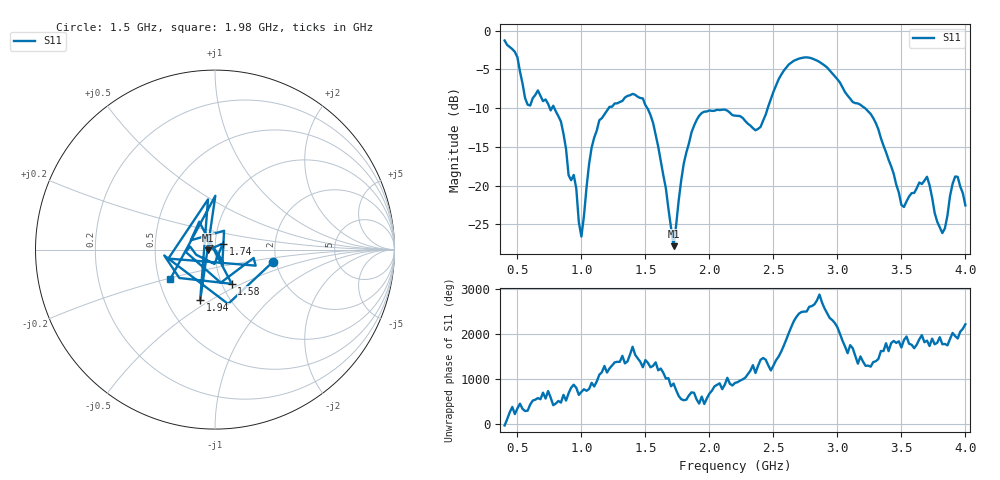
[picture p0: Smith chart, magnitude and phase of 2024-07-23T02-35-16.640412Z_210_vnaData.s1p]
!Created with skrf (http://scikit-rf.org).
# Hz S RI R 50.0
!freq ReS11 ImS11
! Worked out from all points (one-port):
!   181 points, 400 MHz to 4 GHz, reference 50 ohm
!   lowest |S11| = -27.8 dB at 1.72 GHz (marker M1), VSWR 1.08, Z = 46.1 - j0.272 ohm
!   |S11| at or under -10 dB: 788.5 MHz to 1.213 GHz (424.9 MHz wide, 42.5 % of centre); 1.515 GHz to 2.456 GHz (941.1 MHz wide, 47.4 % of centre); 3.215 GHz to end of sweep (the widest 3 of 4)
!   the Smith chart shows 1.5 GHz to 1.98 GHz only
!   S11 on the Smith chart (normalised r, x): 1.5 GHz: 1.93, -0.29; 1.58 GHz: 1.11, -0.44; 1.74 GHz: 1.09, +0.07; 1.94 GHz: 0.73, -0.45; 1.98 GHz: 0.57, -0.21
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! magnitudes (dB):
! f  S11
! 400 MHz  -1.3
! 500 MHz  -3.4
! 580 MHz  -9.6
! 660 MHz  -7.7
! 860 MHz  -13.3
! 960 MHz  -20.4
! 1 GHz  -26.6
! 1.1 GHz  -13.8
! 1.3 GHz  -9.2
! 1.5 GHz  -9.6
! 1.58 GHz  -13.5
! 1.72 GHz  -27.8
! 1.74 GHz  -25.1
! 1.76 GHz  -21.9
! 1.86 GHz  -13.1
! 1.94 GHz  -10.6
! 1.98 GHz  -10.4
! 2.2 GHz  -11.0
! 2.4 GHz  -12.4
! 2.66 GHz  -3.9
! 3.1 GHz  -8.8
! 3.3 GHz  -11.9
! 3.5 GHz  -22.5
! 3.56 GHz  -21.4
! 3.7 GHz  -18.9
! 3.82 GHz  -26.1
! 3.92 GHz  -18.8
! 4 GHz  -22.6
